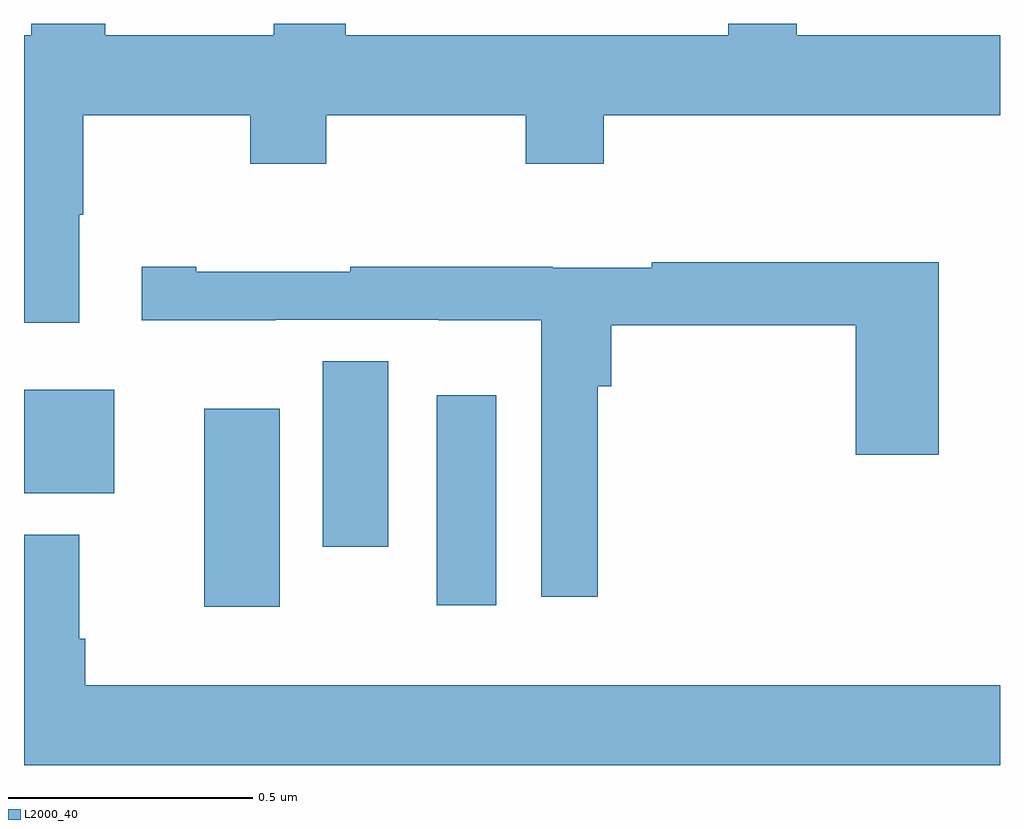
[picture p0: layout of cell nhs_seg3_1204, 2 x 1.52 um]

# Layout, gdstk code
import gdstk
lib = gdstk.Library(unit=1e-6, precision=1e-09)
def R(c, l, rs):  # rectangles x0, y0, x1, y1
    for r in rs: c.add(gdstk.rectangle(r[:2], r[2:], *l))
def P(c, l, *ps):  # polygons
    for p in ps: c.add(gdstk.Polygon(p, *l))
L2000_40 = (2000, 40)

nhs_seg3_1204 = lib.new_cell('nhs_seg3_1204')
R(nhs_seg3_1204, L2000_40, [(125.369,737.205,125.524,737.611), (125.846,737.208,125.968,737.638), (125.612,737.328,125.746,737.708), (125,737.438,125.185,737.65)])
P(nhs_seg3_1204, L2000_40, [(125.113,738.008),(125.121,738.008),(125.121,738.212),(125.464,738.212),(125.464,738.113),(125.619,738.113),(125.619,738.212),(126.028,738.212),(126.028,738.113),(126.188,738.113),(126.188,738.212),(127,738.212),(127,738.376),(126.583,738.376),(126.583,738.4),(126.443,738.4),(126.443,738.376),(125.659,738.376),(125.659,738.4),(125.512,738.4),(125.512,738.376),(125.167,738.376),(125.167,738.4),(125.015,738.4),(125.015,738.376),(125,738.376),(125,737.787),(125.113,737.787)],
  [(126.176,737.657),(126.203,737.657),(126.203,737.782),(126.704,737.782),(126.704,737.517),(126.874,737.517),(126.874,737.911),(126.286,737.911),(126.286,737.9),(126.084,737.9),(126.084,737.902),(125.669,737.902),(125.669,737.892),(125.353,737.892),(125.353,737.902),(125.241,737.902),(125.241,737.792),(125.516,737.792),(125.516,737.793),(125.85,737.793),(125.85,737.792),(126.06,737.792),(126.06,737.226),(126.176,737.226)],
  [(127,737.044),(125.126,737.044),(125.126,737.14),(125.113,737.14),(125.113,737.353),(125,737.353),(125,736.88),(127,736.88)])

lib.write_gds('nhs_seg3_1204.gds')
